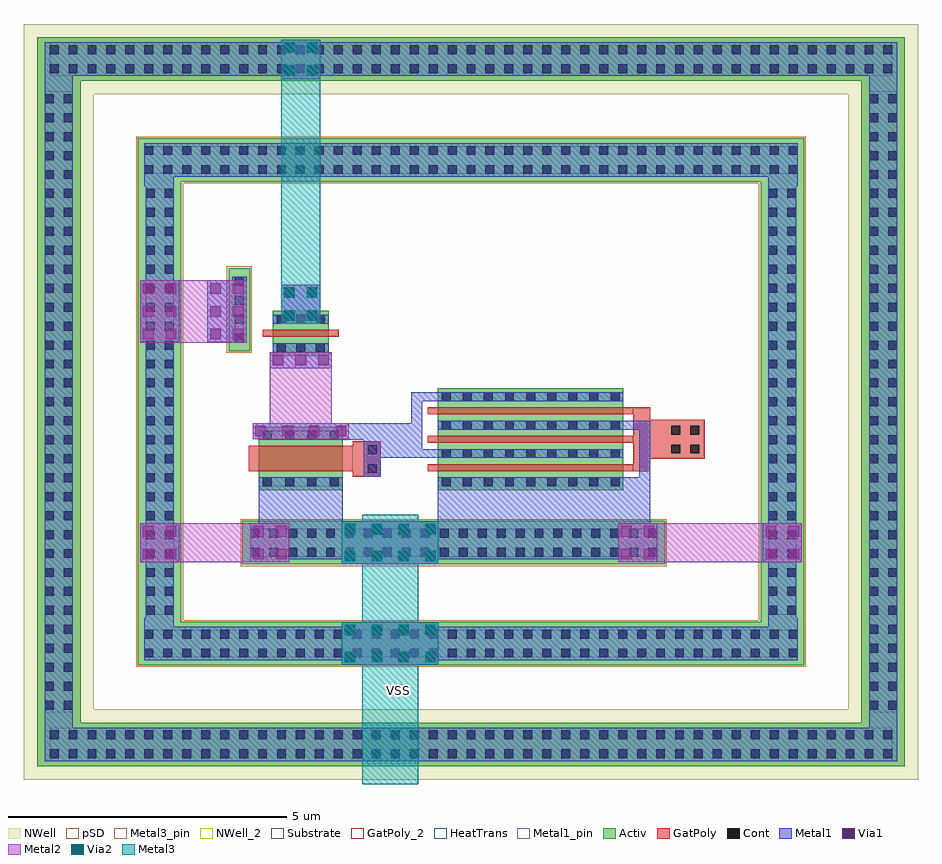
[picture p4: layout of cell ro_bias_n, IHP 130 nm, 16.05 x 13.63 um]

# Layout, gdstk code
from math import pi, radians
import gdstk
lib = gdstk.Library(unit=1e-6, precision=1e-09)
def R(c, l, rs):  # rectangles x0, y0, x1, y1
    for r in rs: c.add(gdstk.rectangle(r[:2], r[2:], *l))
def A(c, l, x, y, w, h, nx, ny, dx, dy):  # array of equal rectangles
    R(c, l, [(x+i*dx, y+j*dy, x+i*dx+w, y+j*dy+h) for i in range(nx) for j in range(ny)])
def P(c, l, *ps):  # polygons
    for p in ps: c.add(gdstk.Polygon(p, *l))
Activ = (1, 0)
GatPoly = (5, 0)
GatPoly_2 = (5, 2)
Cont = (6, 0)
Metal1 = (8, 0)
Metal1_pin = (8, 2)
Metal2 = (10, 0)
pSD = (14, 0)
Via1 = (19, 0)
Via2 = (29, 0)
Metal3 = (30, 0)
Metal3_pin = (30, 2)
NWell = (31, 0)
NWell_2 = (31, 2)
Substrate = (40, 0)
HeatTrans = (51, 0)

nmos_7 = lib.new_cell('nmos$7')
A(nmos_7, Activ, 0, 0, 0.3, 0.3, 4, 1, 0.51, 0)
R(nmos_7, Activ, [(0,0,1.83,3.33)])
A(nmos_7, GatPoly, 0.34, -0.18, 0.13, 3.69, 3, 1, 0.51, 0)
R(nmos_7, GatPoly_2, [(0.34,-0.18,0.47,3.51)])
A(nmos_7, Cont, 0.07, 0.07, 0.16, 0.16, 4, 2, 0.51, 0.375)
A(nmos_7, Cont, 0.07, 0.825, 0.16, 0.16, 4, 3, 0.51, 0.38)
A(nmos_7, Cont, 0.07, 1.96, 0.16, 0.16, 4, 4, 0.51, 0.38)
A(nmos_7, Metal1, 0.07, 0, 0.16, 3.33, 4, 1, 0.51, 0)
R(nmos_7, Metal1_pin, [(0.07,0,0.23,3.33), (0.58,0,0.74,3.33)])
A(nmos_7, HeatTrans, 0.34, -0.18, 0.13, 3.69, 3, 1, 0.51, 0)
nmos_7.add(gdstk.Label('nmos', (0.405,1.665), layer=63, texttype=0))
nmos_7.add(gdstk.Label('nmos', (0.405,1.665), layer=51, texttype=0))
nmos_7.add(gdstk.Label('nmos', (0.915,1.665), layer=51, texttype=0))
nmos_7.add(gdstk.Label('nmos', (1.425,1.665), layer=51, texttype=0))

enn_fet = lib.new_cell('enn_fet')
R(enn_fet, GatPoly, [(3.51,-1.49,3.81,-0.34)])
P(enn_fet, Metal1, [(-0.48,-1.76),(-0.48,-0.58),(0,-0.58),(0,-0.74),(-0.28,-0.74),(-0.28,-1.6),(0,-1.6),(0,-1.76)],
  [(3.33,-1.25),(3.33,-1.09),(3.61,-1.09),(3.61,-0.23),(3.33,-0.23),(3.33,-0.07),(3.81,-0.07),(3.81,-1.25)])
enn_fet.add(gdstk.Reference(nmos_7, (0,-1.83), rotation=pi/2, x_reflection=True))

ptap1_5 = lib.new_cell('ptap1$5')
R(ptap1_5, Activ, [(0,0,7.59,0.78)])
A(ptap1_5, Cont, 0.145, 0.14, 0.16, 0.16, 22, 2, 0.34, 0.34)
R(ptap1_5, Metal1, [(0.145,0.09,7.445,0.69), (0.145,0.14,7.445,0.64)])
R(ptap1_5, Metal1_pin, [(0.145,0.14,7.445,0.64)])
R(ptap1_5, pSD, [(-0.03,-0.03,7.62,0.81)])
R(ptap1_5, Substrate, [(0,0,7.59,0.78)])
ptap1_5.add(gdstk.Label('sub!', (3.795,0.01), layer=63, texttype=0))
ptap1_5.add(gdstk.Label('sub!', (3.795,0.01), layer=40, texttype=0))

ptap1_24 = lib.new_cell('ptap1$24')
R(ptap1_24, Activ, [(0,0,1.49,0.39)])
A(ptap1_24, Cont, 0.155, 0.115, 0.16, 0.16, 4, 1, 0.34, 0)
R(ptap1_24, Metal1, [(0.155,0.065,1.335,0.325), (0.155,0.115,1.335,0.275)])
R(ptap1_24, Metal1_pin, [(0.155,0.115,1.335,0.275)])
R(ptap1_24, pSD, [(-0.03,-0.03,1.52,0.42)])
R(ptap1_24, Substrate, [(0,0,1.49,0.39)])
ptap1_24.add(gdstk.Label('sub!', (0.745,0.01), layer=63, texttype=0))
ptap1_24.add(gdstk.Label('sub!', (0.745,0.01), layer=40, texttype=0))

cont_1 = lib.new_cell('cont$1')
R(cont_1, Cont, [(0,0,0.16,0.16)])

nmos_5 = lib.new_cell('nmos$5')
R(nmos_5, Activ, [(0,0,0.3,0.3), (0,0,0.81,1), (0.51,0,0.81,0.3)])
R(nmos_5, GatPoly, [(0.34,-0.18,0.47,1.18)])
R(nmos_5, GatPoly_2, [(0.34,-0.18,0.47,1.18)])
A(nmos_5, Cont, 0.07, 0.07, 0.16, 0.16, 1, 3, 0, 0.35)
A(nmos_5, Cont, 0.58, 0.07, 0.16, 0.16, 1, 3, 0, 0.35)
R(nmos_5, Metal1, [(0.07,0,0.23,1), (0.58,0,0.74,1)])
R(nmos_5, Metal1_pin, [(0.07,0,0.23,1), (0.58,0,0.74,1)])
R(nmos_5, HeatTrans, [(0.34,-0.18,0.47,1.18)])
nmos_5.add(gdstk.Label('nmos', (0.405,0.5), layer=63, texttype=0))
nmos_5.add(gdstk.Label('nmos', (0.405,0.5), layer=51, texttype=0))

nmos_6 = lib.new_cell('nmos$6')
R(nmos_6, Activ, [(0,0,0.3,0.3), (0,0,1.14,1.5), (0.84,0,1.14,0.3)])
R(nmos_6, GatPoly, [(0.34,-0.18,0.8,1.68)])
R(nmos_6, GatPoly_2, [(0.34,-0.18,0.8,1.68)])
A(nmos_6, Cont, 0.07, 0.07, 0.16, 0.16, 1, 4, 0, 0.4)
A(nmos_6, Cont, 0.91, 0.07, 0.16, 0.16, 1, 4, 0, 0.4)
R(nmos_6, Metal1, [(0.07,0,0.23,1.5), (0.91,0,1.07,1.5)])
R(nmos_6, Metal1_pin, [(0.07,0,0.23,1.5), (0.91,0,1.07,1.5)])
R(nmos_6, HeatTrans, [(0.34,-0.18,0.8,1.68)])
nmos_6.add(gdstk.Label('nmos', (0.57,0.75), layer=63, texttype=0))
nmos_6.add(gdstk.Label('nmos', (0.57,0.75), layer=51, texttype=0))

via_stack_15 = lib.new_cell('via_stack$15')
R(via_stack_15, Metal1, [(-0.145,-0.865,0.145,0.865)])
R(via_stack_15, Metal2, [(-0.145,-0.865,0.145,0.865)])
A(via_stack_15, Via1, -0.095, -0.815, 0.19, 0.19, 1, 4, 0, 0.48)

via_stack_14 = lib.new_cell('via_stack$14')
R(via_stack_14, Metal1, [(-0.145,-0.555,0.145,0.555)])
R(via_stack_14, Metal2, [(-0.145,-0.555,0.145,0.555)])
A(via_stack_14, Via1, -0.095, -0.505, 0.19, 0.19, 1, 3, 0, 0.41)

ptap1_8 = lib.new_cell('ptap1$8')
R(ptap1_8, Activ, [(0,0,11.95,0.78)])
A(ptap1_8, Cont, 0.115, 0.14, 0.16, 0.16, 35, 2, 0.34, 0.34)
R(ptap1_8, Metal1, [(0.115,0.09,11.835,0.69), (0.115,0.14,11.835,0.64)])
R(ptap1_8, Metal1_pin, [(0.115,0.14,11.835,0.64)])
R(ptap1_8, pSD, [(-0.03,-0.03,11.98,0.81)])
R(ptap1_8, Substrate, [(0,0,11.95,0.78)])
ptap1_8.add(gdstk.Label('sub!', (5.975,0.01), layer=63, texttype=0))
ptap1_8.add(gdstk.Label('sub!', (5.975,0.01), layer=40, texttype=0))

ptap1_10 = lib.new_cell('ptap1$10')
R(ptap1_10, Activ, [(0,0,0.78,7.895)])
A(ptap1_10, Cont, 0.14, 0.125, 0.16, 0.16, 1, 23, 0, 0.34)
A(ptap1_10, Cont, 0.48, 0.125, 0.16, 0.16, 1, 23, 0, 0.34)
R(ptap1_10, Metal1, [(0.14,0.075,0.64,7.815), (0.14,0.125,0.64,7.765)])
R(ptap1_10, Metal1_pin, [(0.14,0.125,0.64,7.765)])
R(ptap1_10, pSD, [(-0.03,-0.03,0.81,7.925)])
R(ptap1_10, Substrate, [(0,0,0.78,7.895)])
ptap1_10.add(gdstk.Label('sub!', (0.39,0.01), layer=63, texttype=0))
ptap1_10.add(gdstk.Label('sub!', (0.39,0.01), layer=40, texttype=0))

biasn_ptap_guard_ring = lib.new_cell('biasn_ptap_guard_ring')
biasn_ptap_guard_ring.add(gdstk.Reference(ptap1_8, (0,0)))
biasn_ptap_guard_ring.add(gdstk.Reference(ptap1_8, (0,8.675)))
biasn_ptap_guard_ring.add(gdstk.Reference(ptap1_10, (0,0.78)))
biasn_ptap_guard_ring.add(gdstk.Reference(ptap1_10, (11.17,0.78)))

ntap1_7 = lib.new_cell('ntap1$7')
R(ntap1_7, Activ, [(0,0,15.57,0.78)])
A(ntap1_7, Cont, 0.225, 0.14, 0.16, 0.16, 45, 2, 0.34, 0.34)
R(ntap1_7, Metal1, [(0.225,0.09,15.345,0.69)])
R(ntap1_7, Metal1_pin, [(0.225,0.09,15.345,0.69), (0.225,0.14,15.345,0.64)])
R(ntap1_7, NWell, [(-0.24,-0.24,15.81,1.02), (0,0,15.57,0.78)])
R(ntap1_7, NWell_2, [(0,0,15.57,0.78)])
ntap1_7.add(gdstk.Label('well', (7.785,0.01), layer=63, texttype=0))
ntap1_7.add(gdstk.Label('well', (7.785,0.01), layer=31, texttype=0))

ntap1_8 = lib.new_cell('ntap1$8')
R(ntap1_8, Activ, [(0,0,0.78,11.515)])
A(ntap1_8, Cont, 0.14, 0.235, 0.16, 0.16, 1, 33, 0, 0.34)
A(ntap1_8, Cont, 0.48, 0.235, 0.16, 0.16, 1, 33, 0, 0.34)
R(ntap1_8, Metal1, [(0.14,0.185,0.64,11.325)])
R(ntap1_8, Metal1_pin, [(0.14,0.185,0.64,11.325), (0.14,0.235,0.64,11.275)])
R(ntap1_8, NWell, [(-0.24,-0.24,1.02,11.755), (0,0,0.78,11.515)])
R(ntap1_8, NWell_2, [(0,0,0.78,11.515)])
ntap1_8.add(gdstk.Label('well', (0.39,0.01), layer=63, texttype=0))
ntap1_8.add(gdstk.Label('well', (0.39,0.01), layer=31, texttype=0))

biasn_ntap_guard_ring = lib.new_cell('biasn_ntap_guard_ring')
biasn_ntap_guard_ring.add(gdstk.Reference(ntap1_7, (0,0)))
biasn_ntap_guard_ring.add(gdstk.Reference(ntap1_7, (0,12.295)))
biasn_ntap_guard_ring.add(gdstk.Reference(ntap1_8, (0,0.78)))
biasn_ntap_guard_ring.add(gdstk.Reference(ntap1_8, (14.79,0.78)))

via_stack = lib.new_cell('via_stack')
R(via_stack, Metal1, [(-0.35,-0.35,0.35,0.35)])
R(via_stack, Metal2, [(-0.35,-0.35,0.35,0.35)])
R(via_stack, Via1, [(-0.3,-0.3,-0.11,-0.11), (0.11,-0.3,0.3,-0.11), (-0.3,0.11,-0.11,0.3), (0.11,0.11,0.3,0.3)])

via_stack_40 = lib.new_cell('via_stack$40')
R(via_stack_40, Metal1, [(-0.865,-0.385,0.865,0.385)])
R(via_stack_40, Metal2, [(-0.865,-0.385,0.865,0.385)])
A(via_stack_40, Via1, -0.815, -0.335, 0.19, 0.19, 4, 2, 0.48, 0.48)
A(via_stack_40, Via2, -0.815, -0.335, 0.19, 0.19, 4, 2, 0.48, 0.48)
R(via_stack_40, Metal3, [(-0.865,-0.385,0.865,0.385)])

via_stack_41 = lib.new_cell('via_stack$41')
R(via_stack_41, Metal1, [(-0.555,-0.35,0.555,0.35)])
R(via_stack_41, Metal2, [(-0.555,-0.35,0.555,0.35)])
A(via_stack_41, Via1, -0.505, -0.3, 0.19, 0.19, 3, 2, 0.41, 0.41)

via_stack_43 = lib.new_cell('via_stack$43')
R(via_stack_43, Metal1, [(-0.35,-0.35,0.35,0.35)])
R(via_stack_43, Metal2, [(-0.35,-0.35,0.35,0.35)])
R(via_stack_43, Via1, [(-0.3,-0.3,-0.11,-0.11), (0.11,-0.3,0.3,-0.11), (-0.3,0.11,-0.11,0.3), (0.11,0.11,0.3,0.3)])
R(via_stack_43, Via2, [(-0.3,-0.3,-0.11,-0.11), (0.11,-0.3,0.3,-0.11), (-0.3,0.11,-0.11,0.3), (0.11,0.11,0.3,0.3)])
R(via_stack_43, Metal3, [(-0.35,-0.35,0.35,0.35)])

ro_bias_n = lib.new_cell('ro_bias_n')
R(ro_bias_n, GatPoly, [(1.68,-3.825,2.185,-3.185), (7.02,-3.5,7.3,-2.8), (7.3,-3.5,8,-2.8)])
R(ro_bias_n, Metal1, [(-3.84,-8.925,-3.34,-8.05), (10.95,-8.925,11.45,-8.05), (-2.055,-7.115,-1.53,-6.35), (9.14,-7.115,9.665,-6.35), (0,-4.73,1.5,-3.995), (3.21,-4.705,7.02,-3.995), (0.25,-1.795,1.25,-1.745), (-2.055,1.39,-1.53,2.16), (9.14,1.39,9.665,2.16), (-3.84,3.09,-3.34,3.97), (10.95,3.09,11.45,3.97)])
P(ro_bias_n, Metal1, [(1.885,-3.825),(1.885,-3.155),(1.5,-3.155),(1.5,-2.86),(2.93,-2.86),(2.93,-3.485),(2.185,-3.485),(2.185,-3.825)])
R(ro_bias_n, Metal2, [(0.195,-2.86,1.305,-1.875), (-2.13,-1.415,-0.22,-0.3)])
R(ro_bias_n, Metal3, [(0.4,-1.075,1.1,4.02)])
R(ro_bias_n, Metal3_pin, [(2.405,-7.75,2.605,-7.55)])
ro_bias_n.add(gdstk.FlexPath([(9.74,-5.005),(6.445,-5.005)], 0.7, ends="flush", simple_path=True, layer=10, datatype=0))  # Metal2
ro_bias_n.add(gdstk.FlexPath([(0.545,-5.005),(-2.13,-5.005)], 0.7, ends="flush", simple_path=True, layer=10, datatype=0))  # Metal2
ro_bias_n.add(gdstk.FlexPath([(2.355,-8.835),(2.355,-5.005)], 1, ends="extended", simple_path=True, layer=30, datatype=0))  # Metal3
ro_bias_n.add(gdstk.Reference(enn_fet, (3.21,-4.065), x_reflection=True))
ro_bias_n.add(gdstk.Reference(ptap1_5, (-0.3,-5.395)))
ro_bias_n.add(gdstk.Reference(ptap1_24, (-0.155,-1.57), rotation=pi/2))
r = gdstk.Reference(cont_1, (2.115,-3.755), rotation=pi/2); r.repetition = gdstk.Repetition(2, 1, v1=(0,0.34), v2=(0,0)); ro_bias_n.add(r)
ro_bias_n.add(gdstk.Reference(nmos_5, (0.25,-0.845), rotation=3*pi/2))
ro_bias_n.add(gdstk.Reference(nmos_6, (0,-2.925), rotation=3*pi/2))
ro_bias_n.add(gdstk.Reference(via_stack_15, (0.75,-3.005), rotation=pi/2, x_reflection=True))
ro_bias_n.add(gdstk.Reference(via_stack_14, (0.75,-1.73), rotation=pi/2, x_reflection=True))
r = gdstk.Reference(cont_1, (7.4,-3.405), rotation=pi/2, x_reflection=True); r.repetition = gdstk.Repetition(2, 2, v1=(0,0.34), v2=(0.34,0)); ro_bias_n.add(r)
ro_bias_n.add(gdstk.Reference(biasn_ptap_guard_ring, (-2.17,-7.205)))
ro_bias_n.add(gdstk.Reference(biasn_ntap_guard_ring, (-3.98,-9.015)))
ro_bias_n.add(gdstk.Reference(via_stack, (-1.78,-5.005)))
ro_bias_n.add(gdstk.Reference(via_stack, (0.195,-5.005)))
ro_bias_n.add(gdstk.Reference(via_stack, (6.795,-5.005)))
ro_bias_n.add(gdstk.Reference(via_stack, (9.39,-5.005)))
ro_bias_n.add(gdstk.Reference(via_stack_40, (2.355,-6.815)))
ro_bias_n.add(gdstk.Reference(via_stack_40, (2.355,-5.005)))
ro_bias_n.add(gdstk.Reference(via_stack_41, (-0.575,-0.855), rotation=pi/2))
ro_bias_n.add(gdstk.Reference(via_stack_43, (0.75,-0.725)))
ro_bias_n.add(gdstk.Reference(via_stack_43, (0.75,3.67)))
ro_bias_n.add(gdstk.Reference(via_stack_41, (-1.78,-0.855), rotation=pi/2))
ro_bias_n.add(gdstk.Label('VSS', (2.505,-7.65), layer=30, texttype=25))

lib.write_gds('ro_bias_n.gds')
